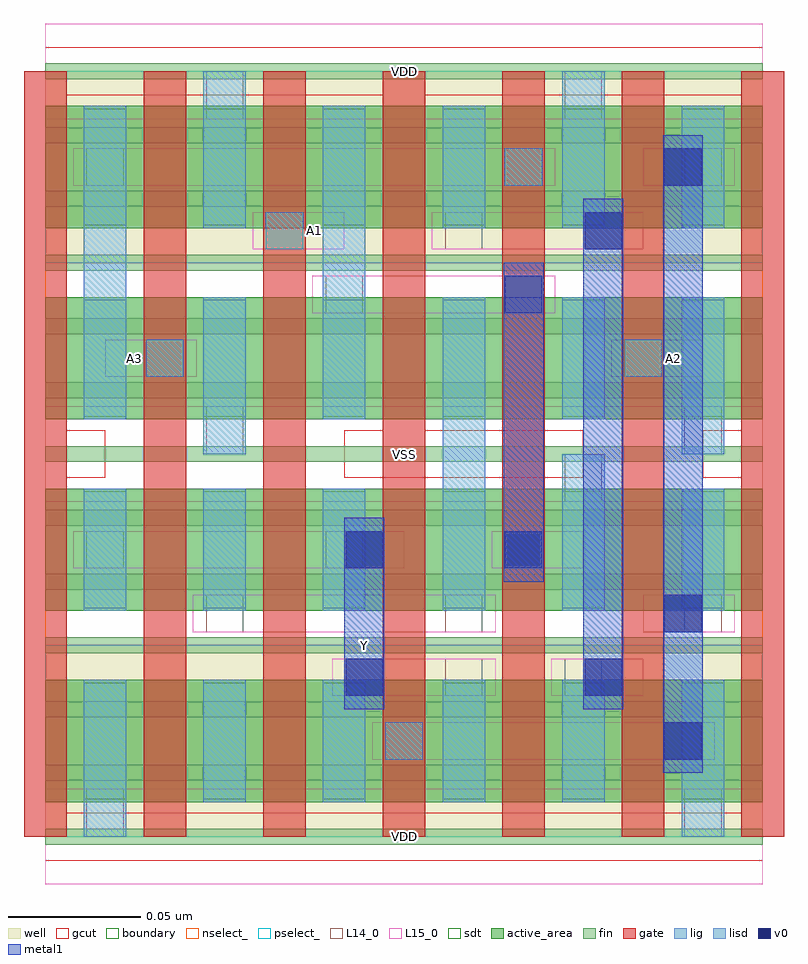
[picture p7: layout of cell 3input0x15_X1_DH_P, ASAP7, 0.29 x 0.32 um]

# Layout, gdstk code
import gdstk
lib = gdstk.Library(unit=1e-6, precision=2.5e-10)
def R(c, l, rs):  # rectangles x0, y0, x1, y1
    for r in rs: c.add(gdstk.rectangle(r[:2], r[2:], *l))
def A(c, l, x, y, w, h, nx, ny, dx, dy):  # array of equal rectangles
    R(c, l, [(x+i*dx, y+j*dy, x+i*dx+w, y+j*dy+h) for i in range(nx) for j in range(ny)])
def P(c, l, *ps):  # polygons
    for p in ps: c.add(gdstk.Polygon(p, *l))
well = (1, 0)
fin = (2, 0)
gate = (7, 0)
gcut = (10, 0)
active_area = (11, 0)
nselect_ = (12, 0)
pselect_ = (13, 0)
L14_0 = (14, 0)
L15_0 = (15, 0)
lig = (16, 0)
lisd = (17, 0)
v0 = (18, 0)
metal1 = (19, 0)
sdt = (88, 0)
boundary = (100, 0)

c_3input0x15_x1_dh_p = lib.new_cell('3input0x15_X1_DH_P')
R(c_3input0x15_x1_dh_p, well, [(0,0,0.27,0.072), (0,0.216,0.27,0.288)])
A(c_3input0x15_x1_dh_p, fin, 0, -0.003, 0.27, 0.006, 1, 13, 0, 0.024)
A(c_3input0x15_x1_dh_p, gate, -0.008, 0, 0.016, 0.288, 7, 1, 0.045, 0)
P(c_3input0x15_x1_dh_p, gcut, [(0,-0.009),(0,0),(-0.008,0),(-0.008,0.279),(0.143,0.279),(0.143,0.153),(0.2025,0.153),(0.2025,0.135),(0.1125,0.135),(0.1125,0.153),(0.127,0.153),(0.127,0.279),(0.008,0.279),(0.008,0.153),(0.0225,0.153),(0.0225,0.135),(0.008,0.135),(0.008,0.009),(0.262,0.009),(0.262,0.135),(0.2475,0.135),(0.2475,0.153),(0.262,0.153),(0.262,0.279),(-0.008,0.279),(-0.008,0.288),(0,0.288),(0,0.297),(0.27,0.297),(0.27,0.288),(0.278,0.288),(0.278,0),(0.27,0),(0.27,-0.009)])
A(c_3input0x15_x1_dh_p, active_area, 0, 0.013, 0.27, 0.046, 1, 4, 0, 0.072)
R(c_3input0x15_x1_dh_p, nselect_, [(0,0.072,0.27,0.144), (0,0.144,0.27,0.216)])
R(c_3input0x15_x1_dh_p, pselect_, [(0,0,0.27,0.072), (0,0.216,0.27,0.288)])
A(c_3input0x15_x1_dh_p, L14_0, 0.0605, 0.077, 0.014, 0.014, 3, 1, 0.09, 0)
R(c_3input0x15_x1_dh_p, L14_0, [(0.0155,0,0.0295,0.018), (0.2405,0,0.2545,0.018), (0.128,0.029,0.142,0.043), (0.1505,0.053,0.1645,0.067), (0.1955,0.053,0.2095,0.067), (0.0155,0.101,0.0295,0.115), (0.1055,0.101,0.1195,0.115), (0.173,0.101,0.187,0.115), (0.1955,0.126,0.2095,0.144), (0.0605,0.144,0.0745,0.162), (0.2405,0.144,0.2545,0.162), (0.038,0.173,0.052,0.187), (0.218,0.173,0.232,0.187), (0.1055,0.197,0.1195,0.211), (0.083,0.221,0.097,0.235), (0.1505,0.221,0.1645,0.235), (0.0155,0.245,0.0295,0.259), (0.173,0.245,0.187,0.259), (0.2405,0.245,0.2545,0.259), (0.0605,0.27,0.0745,0.288), (0.1955,0.27,0.2095,0.288)])
A(c_3input0x15_x1_dh_p, L15_0, 0, -0.018, 0.27, 0.036, 1, 3, 0, 0.144)
R(c_3input0x15_x1_dh_p, L15_0, [(0.123,0.029,0.252,0.043), (0.108,0.053,0.1695,0.067), (0.1905,0.053,0.225,0.067), (0.0555,0.077,0.1695,0.091), (0.225,0.077,0.2595,0.091), (0.0105,0.101,0.135,0.115), (0.168,0.101,0.2025,0.115), (0.0225,0.173,0.057,0.187), (0.213,0.173,0.2475,0.187), (0.1005,0.197,0.192,0.211), (0.078,0.221,0.1125,0.235), (0.1455,0.221,0.225,0.235), (0.0105,0.245,0.192,0.259), (0.225,0.245,0.2595,0.259)])
R(c_3input0x15_x1_dh_p, lig, [(0.128,0.029,0.142,0.043), (0.173,0.101,0.187,0.115), (0.038,0.173,0.052,0.187), (0.218,0.173,0.232,0.187), (0.083,0.221,0.097,0.235), (0.173,0.245,0.187,0.259)])
A(c_3input0x15_x1_dh_p, lisd, 0.0595, 0.013, 0.016, 0.046, 4, 1, 0.045, 0)
A(c_3input0x15_x1_dh_p, lisd, 0.0145, 0.085, 0.016, 0.046, 3, 1, 0.045, 0)
R(c_3input0x15_x1_dh_p, lisd, [(0.0145,0,0.0305,0.059), (0.2395,0,0.2555,0.059), (0.1495,0.085,0.1655,0.203), (0.1945,0.085,0.2105,0.144), (0.2395,0.085,0.2555,0.131), (0.0595,0.144,0.0755,0.203), (0.2395,0.144,0.2555,0.203), (0.0145,0.157,0.0305,0.275), (0.1045,0.157,0.1205,0.275), (0.1945,0.157,0.2105,0.203), (0.0595,0.229,0.0755,0.288), (0.1495,0.229,0.1655,0.275), (0.1945,0.229,0.2105,0.288), (0.2395,0.229,0.2555,0.275)])
R(c_3input0x15_x1_dh_p, v0, [(0.233,0.029,0.247,0.043), (0.113,0.053,0.127,0.067), (0.203,0.053,0.217,0.067), (0.233,0.077,0.247,0.091), (0.113,0.101,0.127,0.115), (0.173,0.101,0.187,0.115), (0.173,0.197,0.187,0.211), (0.203,0.221,0.217,0.235), (0.233,0.245,0.247,0.259)])
R(c_3input0x15_x1_dh_p, metal1, [(0.2325,0.024,0.2475,0.264), (0.1125,0.048,0.1275,0.12), (0.2025,0.048,0.2175,0.24), (0.1725,0.096,0.1875,0.216)])
A(c_3input0x15_x1_dh_p, sdt, 0.0145, 0.014, 0.016, 0.044, 6, 4, 0.045, 0.072)
R(c_3input0x15_x1_dh_p, boundary, [(0,0,0.27,0.288)])
c_3input0x15_x1_dh_p.add(gdstk.Label('VDD', (0.135,0), layer=15, texttype=251))
c_3input0x15_x1_dh_p.add(gdstk.Label('VSS', (0.135,0.144), layer=15, texttype=251))
c_3input0x15_x1_dh_p.add(gdstk.Label('VSS', (0.135,0.144), layer=15, texttype=251))
c_3input0x15_x1_dh_p.add(gdstk.Label('VDD', (0.135,0.288), layer=15, texttype=251))
c_3input0x15_x1_dh_p.add(gdstk.Label('A3', (0.0338,0.18), layer=15, texttype=251))
c_3input0x15_x1_dh_p.add(gdstk.Label('VDD', (0.135,0), layer=15, texttype=251))
c_3input0x15_x1_dh_p.add(gdstk.Label('VSS', (0.135,0.144), layer=15, texttype=251))
c_3input0x15_x1_dh_p.add(gdstk.Label('VSS', (0.135,0.144), layer=15, texttype=251))
c_3input0x15_x1_dh_p.add(gdstk.Label('VDD', (0.135,0.288), layer=15, texttype=251))
c_3input0x15_x1_dh_p.add(gdstk.Label('A1', (0.1013,0.228), layer=15, texttype=251))
c_3input0x15_x1_dh_p.add(gdstk.Label('VDD', (0.135,0), layer=15, texttype=251))
c_3input0x15_x1_dh_p.add(gdstk.Label('VSS', (0.135,0.144), layer=15, texttype=251))
c_3input0x15_x1_dh_p.add(gdstk.Label('VSS', (0.135,0.144), layer=15, texttype=251))
c_3input0x15_x1_dh_p.add(gdstk.Label('VDD', (0.135,0.288), layer=15, texttype=251))
c_3input0x15_x1_dh_p.add(gdstk.Label('A2', (0.2363,0.18), layer=15, texttype=251))
c_3input0x15_x1_dh_p.add(gdstk.Label('VDD', (0.135,0), layer=15, texttype=251))
c_3input0x15_x1_dh_p.add(gdstk.Label('VSS', (0.135,0.144), layer=15, texttype=251))
c_3input0x15_x1_dh_p.add(gdstk.Label('VSS', (0.135,0.144), layer=15, texttype=251))
c_3input0x15_x1_dh_p.add(gdstk.Label('VDD', (0.135,0.288), layer=15, texttype=251))
c_3input0x15_x1_dh_p.add(gdstk.Label('VSS', (0.135,0.144), layer=3, texttype=251))
c_3input0x15_x1_dh_p.add(gdstk.Label('VSS', (0.135,0.144), layer=3, texttype=251))
c_3input0x15_x1_dh_p.add(gdstk.Label('VSS', (0.135,0.144), layer=3, texttype=251))
c_3input0x15_x1_dh_p.add(gdstk.Label('VSS', (0.135,0.144), layer=3, texttype=251))
c_3input0x15_x1_dh_p.add(gdstk.Label('VSS', (0.135,0.144), layer=3, texttype=251))
c_3input0x15_x1_dh_p.add(gdstk.Label('VSS', (0.135,0.144), layer=3, texttype=251))
c_3input0x15_x1_dh_p.add(gdstk.Label('VSS', (0.135,0.144), layer=3, texttype=251))
c_3input0x15_x1_dh_p.add(gdstk.Label('VSS', (0.135,0.144), layer=3, texttype=251))
c_3input0x15_x1_dh_p.add(gdstk.Label('VDD', (0.135,0), layer=1, texttype=251))
c_3input0x15_x1_dh_p.add(gdstk.Label('VDD', (0.135,0.288), layer=1, texttype=251))
c_3input0x15_x1_dh_p.add(gdstk.Label('VDD', (0.135,0), layer=1, texttype=251))
c_3input0x15_x1_dh_p.add(gdstk.Label('VDD', (0.135,0.288), layer=1, texttype=251))
c_3input0x15_x1_dh_p.add(gdstk.Label('VDD', (0.135,0), layer=1, texttype=251))
c_3input0x15_x1_dh_p.add(gdstk.Label('VDD', (0.135,0.288), layer=1, texttype=251))
c_3input0x15_x1_dh_p.add(gdstk.Label('VDD', (0.135,0), layer=1, texttype=251))
c_3input0x15_x1_dh_p.add(gdstk.Label('VDD', (0.135,0.288), layer=1, texttype=251))
c_3input0x15_x1_dh_p.add(gdstk.Label('Y', (0.12,0.072), layer=19, texttype=251))

lib.write_gds('3input0x15_X1_DH_P.gds')
